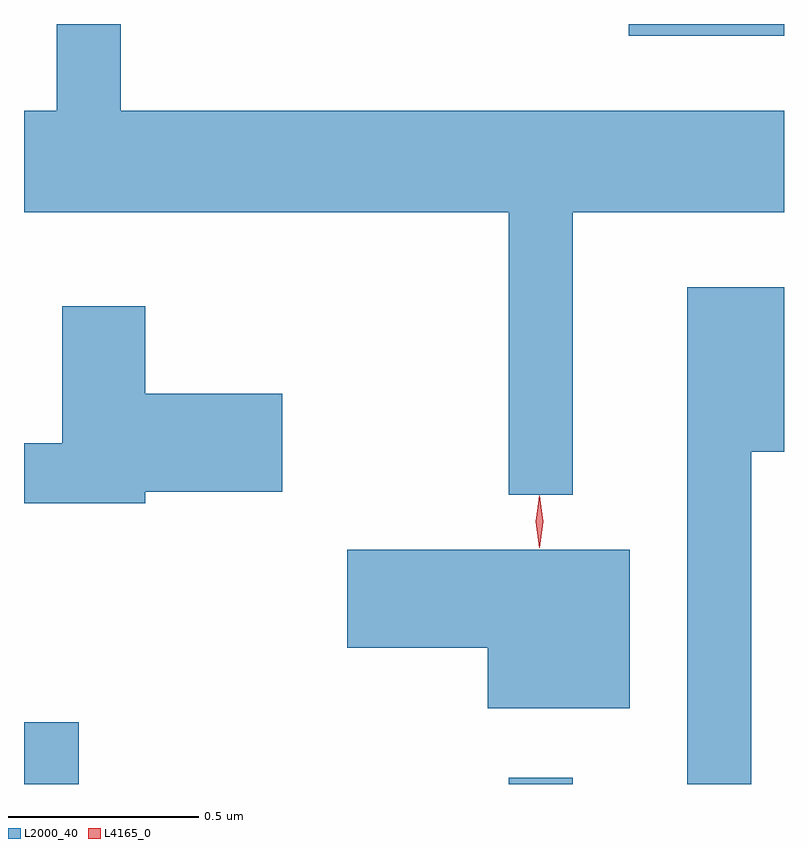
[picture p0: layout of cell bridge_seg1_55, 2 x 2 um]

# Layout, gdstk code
import gdstk
lib = gdstk.Library(unit=1e-6, precision=1e-09)
def R(c, l, rs):  # rectangles x0, y0, x1, y1
    for r in rs: c.add(gdstk.rectangle(r[:2], r[2:], *l))
def P(c, l, *ps):  # polygons
    for p in ps: c.add(gdstk.Polygon(p, *l))
L2000_40 = (2000, 40)
L4165_0 = (4165, 0)

bridge_seg1_55 = lib.new_cell('bridge_seg1_55')
R(bridge_seg1_55, L2000_40, [(1906.825,842.572,1906.969,842.734), (1908.101,842.572,1908.269,842.588), (1908.416,844.541,1908.825,844.572)])
P(bridge_seg1_55, L2000_40, [(1908.269,844.076),(1908.825,844.076),(1908.825,844.344),(1907.079,844.344),(1907.079,844.572),(1906.911,844.572),(1906.911,844.344),(1906.825,844.344),(1906.825,844.076),(1908.101,844.076),(1908.101,843.333),(1908.269,843.333)],
  [(1908.739,843.446),(1908.825,843.446),(1908.825,843.879),(1908.571,843.879),(1908.571,842.572),(1908.739,842.572)],
  [(1907.144,843.341),(1907.504,843.341),(1907.504,843.599),(1907.144,843.599),(1907.144,843.829),(1906.926,843.829),(1906.926,843.469),(1906.825,843.469),(1906.825,843.311),(1907.144,843.311)],
  [(1908.419,843.189),(1907.676,843.189),(1907.676,842.931),(1908.046,842.931),(1908.046,842.771),(1908.419,842.771)])
P(bridge_seg1_55, L4165_0, [(1908.181,843.194),(1908.172,843.262),(1908.181,843.33),(1908.182,843.33),(1908.182,843.33),(1908.192,843.262),(1908.182,843.194),(1908.182,843.194)],
  [(1908.182,843.2),(1908.181,843.201),(1908.172,843.263),(1908.181,843.326),(1908.182,843.327),(1908.182,843.326),(1908.192,843.263),(1908.182,843.201)])

lib.write_gds('bridge_seg1_55.gds')
